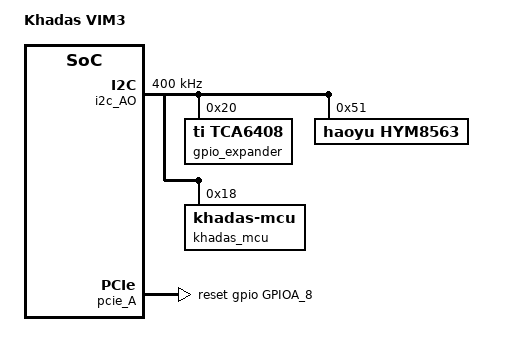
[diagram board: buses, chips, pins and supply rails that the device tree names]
#include "g12b_a311d_w400_linux.dts"
#include "coreelec_g12b_common.dtsi"

/ {
	model = "Khadas VIM3";
	coreelec-dt-id = "g12b_a311d_khadas_vim3";

	/delete-node/ memory@00000000;
	/delete-node/ rtc;

	reserved-memory {
		secmon_reserved:linux,secmon {
			size = <0x0 0x300000>;
			alloc-ranges = <0x0 0x05000000 0x0 0x300000>;
		};
	};

	gpio_keypad {
		key-gpios = <&gpio_ao GPIOAO_7 GPIO_ACTIVE_HIGH>;
	};

	gpioleds {
		sys_led {
			gpios=<&gpio_ao GPIOAO_4 GPIO_ACTIVE_HIGH>;
		};

		red_led {
			label = "red_led";
			gpios = <&gpio_expander 5 GPIO_ACTIVE_HIGH>;
			linux,default-trigger="none";
		};
	};

	adc_keypad {
		key_name = "home";
		key_num = <1>;
		key_code = <102>;
		key_val = <108>; //val=voltage/1800mV*1023
		key_tolerance = <40>;
	};

	unifykey {
		unifykey-num = <1>;
		unifykey-index-0 = <&keysn_0>;

		keysn_0: key_0 {
			key-name = "mac";
			key-device = "normal";
			key-permit = "read","write","del";
		};
	};

	auge_sound {
		/delete-property/ avout_mute-gpios;
	};
};

&i2c2 {
	status = "disabled";
};

&vddio_c {
	/delete-property/ gpio;
};

&i2c_AO {
	status = "okay";
	pinctrl-names="default";
	pinctrl-0=<&ao_i2c_master_pins1>;
	clock-frequency = <400000>;

	gpio_expander: gpio-controller@20 {
		compatible = "ti,tca6408";
		reg = <0x20>;
		gpio-controller;
		#gpio-cells = <2>;
		status = "okay";
	};

	hym8563: hym8563@51 {
		compatible = "haoyu,hym8563";
		reg = <0x51>;
		#clock-cells = <0>;
	};

	khadas_mcu: system-controller@18 {
		compatible = "khadas-mcu";
		reg = <0x18>;
		#cooling-cells = <2>;
		fan,trig_temp_level0 = <50>;
		fan,trig_temp_level1 = <60>;
		fan,trig_temp_level2 = <70>;
		hwver = "VIM3.V11";
	};
};

&usb2_phy_v2 {
	gpio-vbus-power = "GPIOA_6";
	gpios = <&gpio GPIOA_6 GPIO_ACTIVE_HIGH>;
};

&usb3_phy_v2 {
	/delete-property/ gpio-vbus-power;
	/delete-property/ gpios;
};

&pcie_A {
	reset-gpio = <&gpio GPIOA_8 GPIO_ACTIVE_HIGH>;
};

&spicc1 {
	spidev@0 {
		status = "disabled";
		compatible = "linux,spidev";
		/* spi default max clock 100Mhz */
		spi-max-frequency = <100000000>;
		reg = <0>;
	};
};
